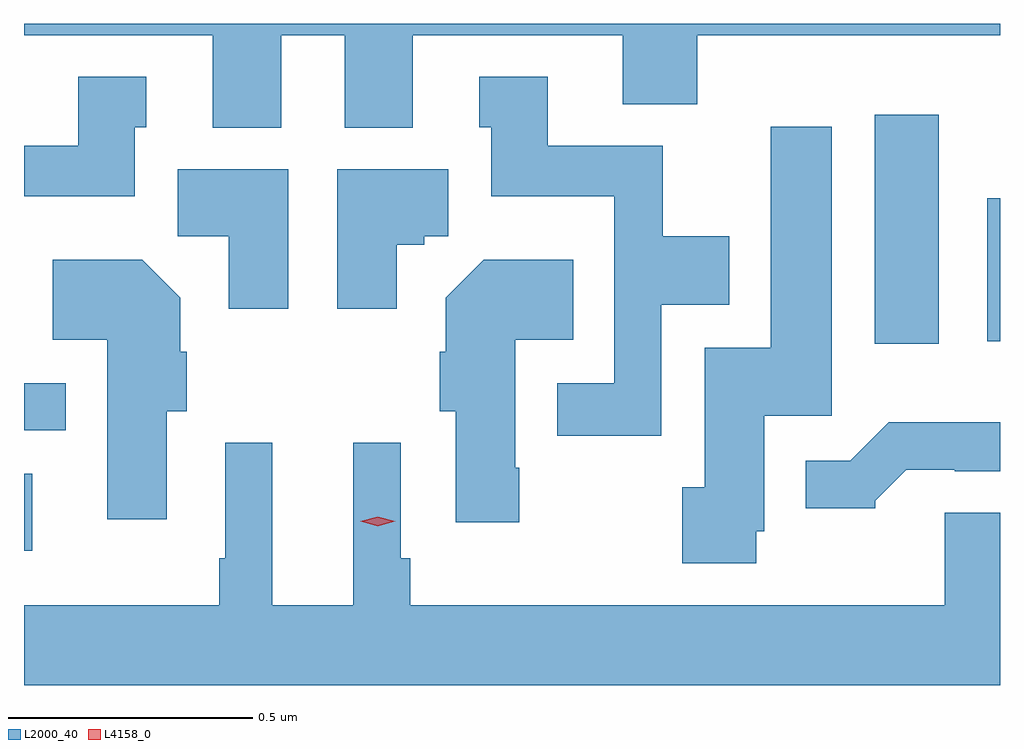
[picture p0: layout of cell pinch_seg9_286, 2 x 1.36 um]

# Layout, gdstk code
import gdstk
lib = gdstk.Library(unit=1e-6, precision=1e-09)
def R(c, l, rs):  # rectangles x0, y0, x1, y1
    for r in rs: c.add(gdstk.rectangle(r[:2], r[2:], *l))
def P(c, l, *ps):  # polygons
    for p in ps: c.add(gdstk.Polygon(p, *l))
L2000_40 = (2000, 40)
L4158_0 = (4158, 0)

pinch_seg9_286 = lib.new_cell('pinch_seg9_286')
R(pinch_seg9_286, L2000_40, [(407.144,1170.056,407.161,1170.214), (407.144,1170.303,407.23,1170.399), (408.887,1170.48,409.018,1170.949), (409.118,1170.485,409.144,1170.778)])
P(pinch_seg9_286, L2000_40, [(407.671,1171.112),(407.801,1171.112),(407.801,1170.923),(407.941,1170.923),(407.941,1171.112),(408.371,1171.112),(408.371,1170.971),(408.524,1170.971),(408.524,1171.112),(409.144,1171.112),(409.144,1171.136),(407.144,1171.136),(407.144,1171.112),(407.531,1171.112),(407.531,1170.923),(407.671,1170.923)],
  [(407.371,1170.924),(407.395,1170.924),(407.395,1171.027),(407.255,1171.027),(407.255,1170.886),(407.144,1170.886),(407.144,1170.782),(407.371,1170.782)],
  [(408.45,1170.56),(408.589,1170.56),(408.589,1170.7),(408.453,1170.7),(408.453,1170.886),(408.217,1170.886),(408.217,1171.027),(408.077,1171.027),(408.077,1170.924),(408.101,1170.924),(408.101,1170.782),(408.354,1170.782),(408.354,1170.399),(408.237,1170.399),(408.237,1170.291),(408.45,1170.291)],
  [(408.645,1170.096),(408.661,1170.096),(408.661,1170.333),(408.799,1170.333),(408.799,1170.925),(408.674,1170.925),(408.674,1170.472),(408.539,1170.472),(408.539,1170.186),(408.493,1170.186),(408.493,1170.03),(408.645,1170.03)],
  [(407.686,1170.838),(407.459,1170.838),(407.459,1170.7),(407.564,1170.7),(407.564,1170.552),(407.686,1170.552)],
  [(407.908,1170.683),(407.964,1170.683),(407.964,1170.7),(408.013,1170.7),(408.013,1170.838),(407.786,1170.838),(407.786,1170.552),(407.908,1170.552)],
  [(408.159,1170.226),(408.151,1170.226),(408.151,1170.488),(408.269,1170.488),(408.269,1170.652),(408.086,1170.652),(408.008,1170.574),(408.008,1170.464),(407.996,1170.464),(407.996,1170.342),(408.029,1170.342),(408.029,1170.114),(408.159,1170.114)],
  [(407.437,1170.342),(407.477,1170.342),(407.477,1170.464),(407.464,1170.464),(407.464,1170.574),(407.386,1170.652),(407.203,1170.652),(407.203,1170.488),(407.315,1170.488),(407.315,1170.12),(407.437,1170.12)],
  [(408.888,1170.158),(408.952,1170.222),(409.051,1170.222),(409.051,1170.219),(409.144,1170.219),(409.144,1170.319),(408.916,1170.319),(408.837,1170.24),(408.746,1170.24),(408.746,1170.143),(408.888,1170.143)],
  [(409.144,1170.134),(409.031,1170.134),(409.031,1169.944),(407.936,1169.944),(407.936,1170.04),(407.916,1170.04),(407.916,1170.277),(407.819,1170.277),(407.819,1169.944),(407.653,1169.944),(407.653,1170.277),(407.556,1170.277),(407.556,1170.04),(407.544,1170.04),(407.544,1169.944),(407.144,1169.944),(407.144,1169.78),(409.144,1169.78)])
P(pinch_seg9_286, L4158_0, [(407.869,1170.106),(407.833,1170.116),(407.832,1170.116),(407.833,1170.116),(407.869,1170.126),(407.905,1170.116),(407.905,1170.116),(407.905,1170.116)])

lib.write_gds('pinch_seg9_286.gds')
